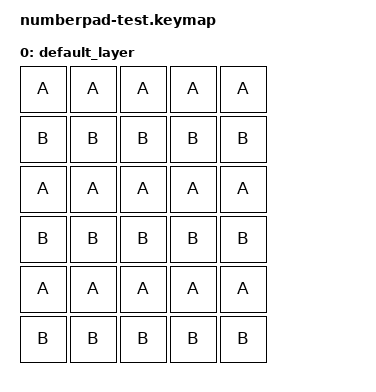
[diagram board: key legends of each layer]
#include <input/processors.dtsi>
#include <dt-bindings/zmk/input_transform.h>
#include <zephyr/dt-bindings/input/input-event-codes.h>
#include <behaviors.dtsi>
#include <dt-bindings/zmk/bt.h>
#include <dt-bindings/zmk/keys.h>


/ {
    keymap {
        compatible = "zmk,keymap";

        default_layer {
            bindings = <
&kp A &kp A &kp A &kp A &kp A 
&kp B &kp B &kp B &kp B &kp B
&kp A &kp A &kp A &kp A &kp A 
&kp B &kp B &kp B &kp B &kp B 
&kp A &kp A &kp A &kp A &kp A 
&kp B &kp B &kp B &kp B &kp B  
            >;
        };
    };
};
